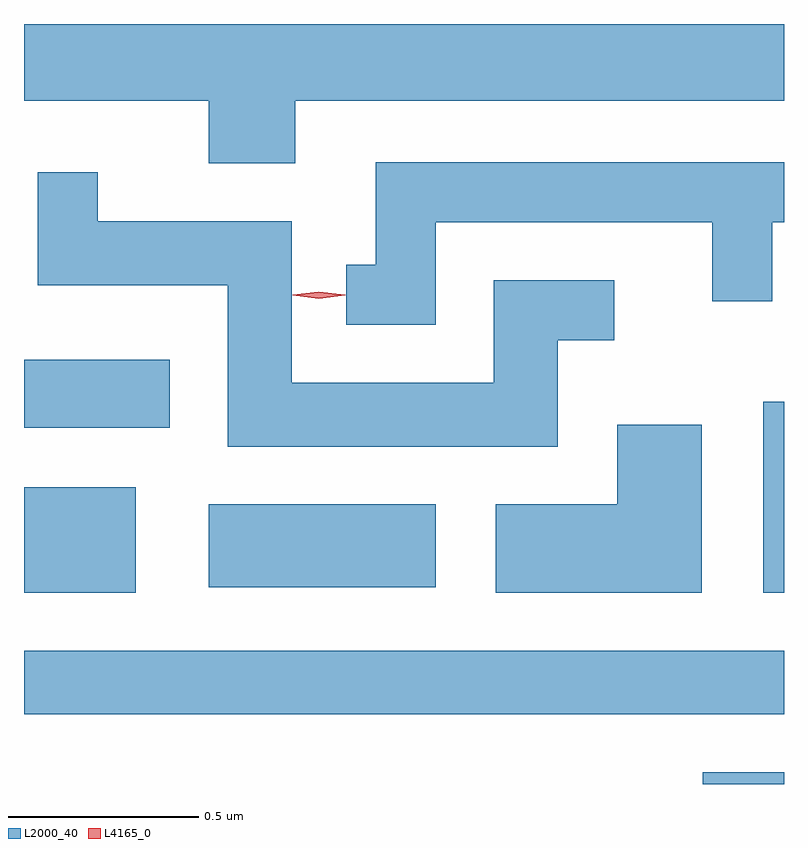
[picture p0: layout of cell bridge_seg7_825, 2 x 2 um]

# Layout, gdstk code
import gdstk
lib = gdstk.Library(unit=1e-6, precision=1e-09)
def R(c, l, rs):  # rectangles x0, y0, x1, y1
    for r in rs: c.add(gdstk.rectangle(r[:2], r[2:], *l))
def P(c, l, *ps):  # polygons
    for p in ps: c.add(gdstk.Polygon(p, *l))
L2000_40 = (2000, 40)
L4165_0 = (4165, 0)

bridge_seg7_825 = lib.new_cell('bridge_seg7_825')
R(bridge_seg7_825, L2000_40, [(351.971,1739.158,352.185,1739.189), (350.185,1739.341,352.185,1739.509), (350.185,1739.661,350.479,1739.939), (352.131,1739.661,352.185,1740.164), (350.671,1739.676,351.269,1739.894), (350.185,1740.096,350.569,1740.274)])
P(bridge_seg7_825, L2000_40, [(350.899,1740.956),(352.185,1740.956),(352.185,1741.158),(350.185,1741.158),(350.185,1740.956),(350.671,1740.956),(350.671,1740.791),(350.899,1740.791)],
  [(351.269,1740.636),(351.996,1740.636),(351.996,1740.428),(352.154,1740.428),(352.154,1740.636),(352.185,1740.636),(352.185,1740.794),(351.111,1740.794),(351.111,1740.524),(351.033,1740.524),(351.033,1740.366),(351.269,1740.366)],
  [(351.589,1740.326),(351.738,1740.326),(351.738,1740.484),(351.421,1740.484),(351.421,1740.214),(350.889,1740.214),(350.889,1740.639),(350.379,1740.639),(350.379,1740.768),(350.221,1740.768),(350.221,1740.471),(350.721,1740.471),(350.721,1740.046),(351.589,1740.046)],
  [(351.969,1740.104),(351.746,1740.104),(351.746,1739.894),(351.426,1739.894),(351.426,1739.661),(351.969,1739.661)])
P(bridge_seg7_825, L4165_0, [(350.961,1740.435),(350.892,1740.444),(350.892,1740.444),(350.892,1740.445),(350.961,1740.454),(351.031,1740.445),(351.031,1740.445),(351.031,1740.444)])

lib.write_gds('bridge_seg7_825.gds')
